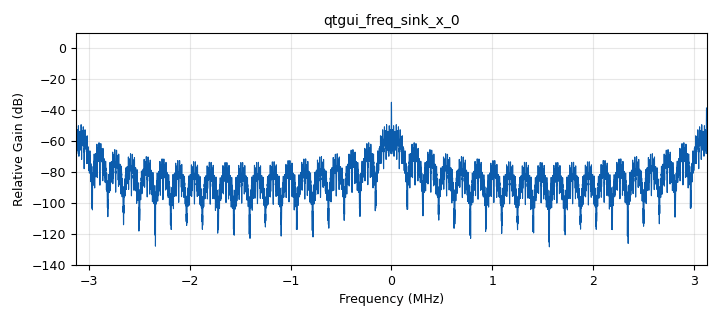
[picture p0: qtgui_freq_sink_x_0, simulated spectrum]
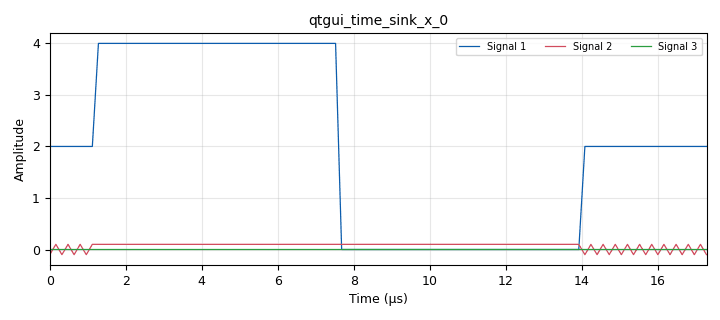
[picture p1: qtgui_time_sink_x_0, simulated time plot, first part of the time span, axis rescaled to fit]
options:
  parameters:
    author: G6_H1
    generate_options: qt_gui
    id: FSK
    output_language: python
    title: ModulacionFSK
  states: {}

blocks:
- name: Ac
  id: variable_qtgui_range
  parameters:
    label: Amplitud portadora
    start: '0'
    step: '0.1'
    stop: '2'
    value: '0.1'
  states: {}
- name: B
  id: variable_qtgui_range
  parameters:
    label: No Muestras por simbolo (SPS)
    start: '1'
    step: '1'
    stop: '40'
    value: '40'
  states: {}
- name: DC
  id: variable_qtgui_range
  parameters:
    label: Nivel de señal modulante
    start: '-8'
    step: '0.1'
    stop: '8'
    value: '0'
  states: {}
- name: GTX
  id: variable_qtgui_range
  parameters:
    label: Ganancia del transmisor
    start: '0'
    step: '1'
    stop: '30'
    value: '0'
  states: {}
- name: 'No'
  id: variable_qtgui_range
  parameters:
    label: Amplitud ruido
    start: '0'
    step: '100e-6'
    stop: '0.03'
    value: '100e-6'
  states: {}
- name: fc
  id: variable_qtgui_range
  parameters:
    label: Frecuencia de la portadora
    start: 50e6
    step: 1e6
    stop: 2.2e9
    value: 400e6
  states: {}
- name: kf
  id: variable_qtgui_range
  parameters:
    label: Coeficiente de modulacion (MHz/volt)
    start: '-2*math.pi'
    step: '1e-3'
    stop: 2*math.pi
    value: math.pi/2
  states: {}
- name: kp
  id: variable_qtgui_range
  parameters:
    label: coeficiente de sensibilidad (rad/volt)
    start: '-2*math.pi'
    step: '0.001'
    stop: 2*math.pi
    value: math.pi/math.pow(2,n)
  states: {}
- name: n
  id: variable_qtgui_range
  parameters:
    label: No. bit por simbolo
    start: '1'
    step: '1'
    stop: '4'
    value: '2'
  states: {}
- name: samp_rate
  id: variable
  parameters:
    value: 12500000/2
  states: {}
- name: analog_frequency_modulator_fc_0
  id: analog_frequency_modulator_fc
  parameters:
    sensitivity: kf
  states: {}
- name: analog_noise_source_x_0
  id: analog_noise_source_x
  parameters:
    amp: 'No'
    noise_type: analog.GR_GAUSSIAN
    seed: '0'
    type: complex
  states: {}
- name: analog_phase_modulator_fc_0
  id: analog_phase_modulator_fc
  parameters:
    sensitivity: kp
  states: {state: disabled}
- name: analog_random_source_x_0
  id: analog_random_source_x
  parameters:
    max: int(math.pow(2,n))
    min: '0'
    num_samps: '10000'
    repeat: 'True'
    type: byte
  states: {}
- name: blocks_add_const_vxx_0
  id: blocks_add_const_vxx
  parameters:
    const: DC
    type: float
  states: {}
- name: blocks_add_xx_0
  id: blocks_add_xx
  parameters:
    type: complex
  states: {}
- name: blocks_complex_to_float_0
  id: blocks_complex_to_float
  parameters: {}
  states: {}
- name: blocks_multiply_const_vxx_0
  id: blocks_multiply_const_vxx
  parameters:
    const: '2'
    type: float
  states: {}
- name: blocks_multiply_const_vxx_1
  id: blocks_multiply_const_vxx
  parameters:
    const: Ac
    type: complex
  states: {}
- name: blocks_repeat_0
  id: blocks_repeat
  parameters:
    interp: B
    type: float
  states: {}
- name: blocks_uchar_to_float_0
  id: blocks_uchar_to_float
  parameters: {}
  states: {}
- name: import_0
  id: import
  parameters:
    imports: import math
  states: {}
- name: qtgui_const_sink_x_0
  id: qtgui_const_sink_x
  parameters:
    size: '1024'
    type: complex
  states: {state: disabled}
- name: qtgui_freq_sink_x_0
  id: qtgui_freq_sink_x
  parameters:
    bw: samp_rate
    fc: '0'
    fftsize: 1024*8
    type: complex
  states: {}
- name: qtgui_time_sink_x_0
  id: qtgui_time_sink_x
  parameters:
    nconnections: '3'
    size: 1024*8
    srate: samp_rate
    type: float
  states: {}
- name: uhd_usrp_sink_0
  id: uhd_usrp_sink
  parameters:
    ant0: '"TX/RX"'
    center_freq0: fc
    gain0: GTX
    samp_rate: samp_rate
    sync: pc_clock
    type: fc32
  states: {}
- name: virtual_sink_0
  id: virtual_sink
  parameters:
    stream_id: m_t
  states: {}
- name: virtual_sink_1
  id: virtual_sink
  parameters:
    stream_id: g(t)
  states: {}
- name: virtual_source_0
  id: virtual_source
  parameters:
    stream_id: m_t
  states: {}
- name: virtual_source_0_0
  id: virtual_source
  parameters:
    stream_id: m_t
  states: {}
- name: virtual_source_1
  id: virtual_source
  parameters:
    stream_id: g(t)
  states: {}

connections:
- [analog_frequency_modulator_fc_0, '0', blocks_multiply_const_vxx_1, '0']
- [analog_noise_source_x_0, '0', blocks_add_xx_0, '1']
- [analog_phase_modulator_fc_0, '0', blocks_multiply_const_vxx_1, '0']
- [analog_random_source_x_0, '0', blocks_uchar_to_float_0, '0']
- [blocks_add_const_vxx_0, '0', blocks_multiply_const_vxx_0, '0']
- [blocks_add_xx_0, '0', blocks_complex_to_float_0, '0']
- [blocks_add_xx_0, '0', qtgui_const_sink_x_0, '0']
- [blocks_add_xx_0, '0', qtgui_freq_sink_x_0, '0']
- [blocks_complex_to_float_0, '0', qtgui_time_sink_x_0, '1']
- [blocks_complex_to_float_0, '1', qtgui_time_sink_x_0, '2']
- [blocks_multiply_const_vxx_0, '0', virtual_sink_0, '0']
- [blocks_multiply_const_vxx_1, '0', virtual_sink_1, '0']
- [blocks_repeat_0, '0', blocks_add_const_vxx_0, '0']
- [blocks_uchar_to_float_0, '0', blocks_repeat_0, '0']
- [virtual_source_0, '0', analog_frequency_modulator_fc_0, '0']
- [virtual_source_0, '0', analog_phase_modulator_fc_0, '0']
- [virtual_source_0_0, '0', qtgui_time_sink_x_0, '0']
- [virtual_source_1, '0', blocks_add_xx_0, '0']
- [virtual_source_1, '0', uhd_usrp_sink_0, '0']

metadata:
  file_format: 1
